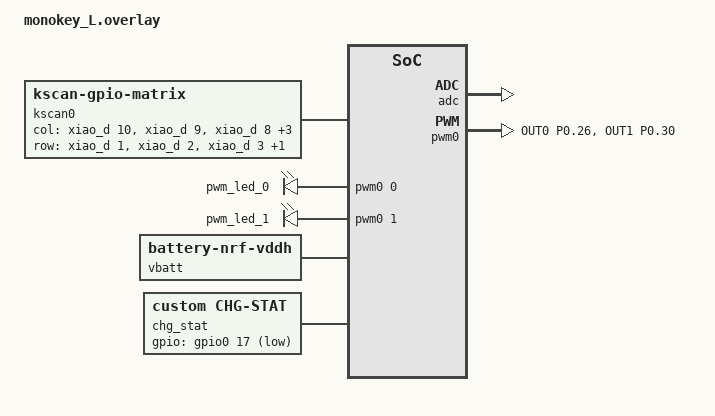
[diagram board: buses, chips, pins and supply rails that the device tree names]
/ { zmk,compat-check = "skip"; };

#include "monokey.dtsi"
#include <input/processors.dtsi>
#include <dt-bindings/zmk/input_transform.h>
#include <dt-bindings/pinctrl/nrf-pinctrl.h>

&adc {
    status = "okay";
};

&pinctrl {
    pwm0_default: pwm0_default {
        group1 {
            psels = <NRF_PSEL(PWM_OUT0, 0, 26)>, <NRF_PSEL(PWM_OUT1, 0, 30)>;
            nordic,drive-mode = <NRF_DRIVE_S0S1>;
        };
    };
    pwm0_sleep: pwm0_sleep {
        group1 {
            psels = <NRF_PSEL(PWM_OUT0, 0, 26)>, <NRF_PSEL(PWM_OUT1, 0, 30)>;
            low-power-enable;
            nordic,drive-mode = <NRF_DRIVE_S0S1>;
        };
    };
};

&pwm0 {
    status = "okay";
    pinctrl-0 = <&pwm0_default>;
    pinctrl-1 = <&pwm0_sleep>;
    pinctrl-names = "default", "sleep";
};

&uicr { nfct-pins-as-gpios; };
&xiao_serial { status = "disabled"; };

/ {
    kscan0: kscan0 {
        compatible = "zmk,kscan-gpio-matrix";
        wakeup-source;
        diode-direction = "col2row";
        col-gpios
            = <&xiao_d 10 GPIO_ACTIVE_HIGH>
            , <&xiao_d 9 GPIO_ACTIVE_HIGH> 
            , <&xiao_d 8 GPIO_ACTIVE_HIGH> 
            , <&xiao_d 7 GPIO_ACTIVE_HIGH> 
            , <&gpio0 10 GPIO_ACTIVE_HIGH>
            , <&gpio0 9 GPIO_ACTIVE_HIGH>
        ;
        row-gpios
            = <&xiao_d 1 (GPIO_ACTIVE_HIGH | GPIO_PULL_DOWN)>
            , <&xiao_d 2 (GPIO_ACTIVE_HIGH | GPIO_PULL_DOWN)>
            , <&xiao_d 3 (GPIO_ACTIVE_HIGH | GPIO_PULL_DOWN)>
            , <&xiao_d 6 (GPIO_ACTIVE_HIGH | GPIO_PULL_DOWN)>
            ;
    };

    backlight: pwmleds {
        compatible = "pwm-leds";
        status = "okay";
        pwm_led_0: led_red { pwms = <&pwm0 0 10000000 PWM_POLARITY_INVERTED>; };
        pwm_led_1: led_green { pwms = <&pwm0 1 10000000 PWM_POLARITY_INVERTED>; };
    };

    vbatt: vbatt { compatible = "zmk,battery-nrf-vddh"; };

    chosen {
        zmk,kscan = &kscan0;
        zmk,backlight = &backlight;
        zmk,battery = &vbatt;
    };

    split_inputs {
        compatible = "zmk,split-inputs";
        #address-cells = <1>;
        #size-cells = <0>;
        trackball_split: trackball@0 {
            compatible = "zmk,input-split";
            reg = <0>;
            status = "disabled";
        };
    };

    chg_stat: chg_stat {
        compatible = "custom,chg-stat";
        gpios = <&gpio0 17 GPIO_ACTIVE_LOW>;
        status = "okay";
    };
};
